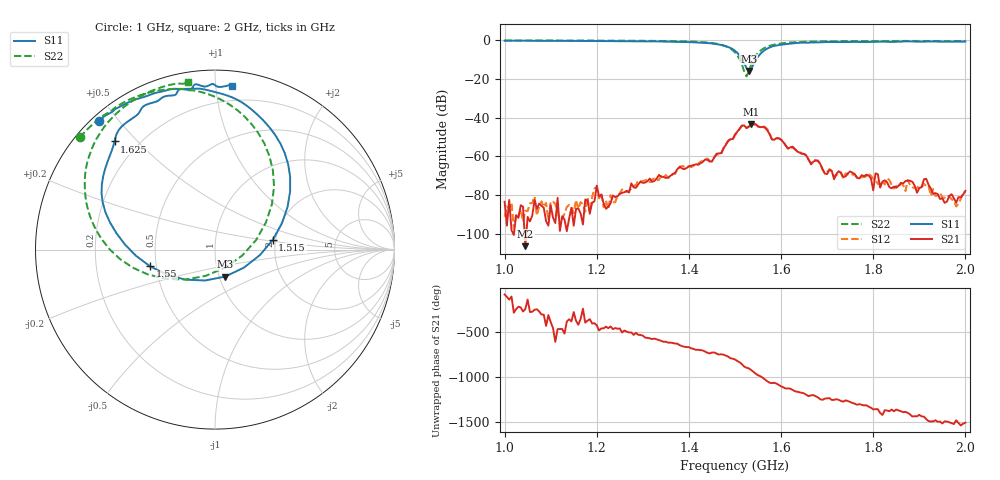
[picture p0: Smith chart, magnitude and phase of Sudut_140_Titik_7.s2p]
# Hz S RI R 50
! CMT, C1220, 16058040, 17.2.0/1
! Date: 14/08/2018 12:13:53
! Data: Format (Calibration Info)
! Freq  S11: Re/Im (F2)  S21: Re/Im (F2)  S12: Re/Im (F2)  S22: Re/Im (F2)
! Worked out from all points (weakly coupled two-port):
!   201 points, 1 GHz to 2 GHz, reference 50 ohm
!   highest |S21| = -43.36 dB at 1.535 GHz (marker M1); lowest = -106.5 dB at 1.045 GHz (marker M2)
!   lowest |S11| = -15.9 dB at 1.53 GHz (marker M3), VSWR 1.38, Z = 53.5 - j16.5 ohm
!   |S11| at or under -10 dB: 1.516 GHz to 1.546 GHz (30.44 MHz wide, 1.99 % of centre)
!   |S22| runs from -18.8 to -0.2 dB; largest |S21 - S12| = 0.00035
!   S11 on the Smith chart (normalised r, x): 1 GHz: 0.02, +0.44; 1.515 GHz: 1.93, +0.23; 1.55 GHz: 0.46, -0.10; 1.625 GHz: 0.12, +0.43; 2 GHz: 0.10, +1.11
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1e9  -0.6469 0.7143  2.67e-06 -6.67e-05  -2.12e-05 -1.76e-05  -0.7535 0.625
1.045e9  -0.6156 0.7434  -1.87e-06 4.35e-06  -3.77e-05 -1.05e-05  -0.7221 0.659
1.17e9  -0.4775 0.8223  -7.54e-06 1.55e-05  4.87e-05 -2.87e-05  -0.6165 0.7508
1.335e9  -0.2189 0.8957  -0.000208 0.000255  -0.000141 0.000201  -0.4002 0.8655
1.45e9  0.1808 0.7988  0.00072 -0.000113  0.000728 -0.000151  0.0236 0.8404
1.5e9  0.4185 0.3252  0.000319 -0.00365  0.000267 -0.00345  0.329 0.3512
1.515e9  0.3216 0.0539  -0.00451 -0.00419  -0.00442 -0.00438  0.2294 0.0537
1.53e9  0.0576 -0.1499  -0.00576 0.000363  -0.0058 0.000355  -0.0521 -0.1464
1.535e9  -0.0545 -0.1722  -0.00633 0.00247  -0.0063 0.00248  -0.1653 -0.1666
1.55e9  -0.3612 -0.0934  -0.00109 0.00577  -0.0013 0.00571  -0.4596 -0.0998
1.625e9  -0.5598 0.6027  0.000831 -0.00157  0.000842 -0.00145  -0.701 0.5216
1.67e9  -0.4422 0.7437  -0.000349 -0.000632  -0.00042 -0.000665  -0.6249 0.6725
1.735e9  -0.3158 0.8302  -0.000288 5.71e-05  -0.000244 7.24e-05  -0.5191 0.7846
1.79e9  -0.2148 0.8684  -0.000126 0.00029  -0.000164 0.000315  -0.4379 0.8411
1.8e9  -0.2076 0.8828  1.46e-05 0.000131  -4.71e-05 0.000258  -0.4241 0.849
1.805e9  -0.2024 0.8891  2.59e-05 0.00036  6.04e-05 0.000241  -0.417 0.8535
1.835e9  -0.1444 0.8874  7.24e-05 0.000141  0.00012 0.000211  -0.3765 0.874
1.88e9  -0.0971 0.9197  0.000207 0.000105  0.000153 9.17e-05  -0.313 0.8994
1.895e9  -0.0665 0.9092  0.000113 1.36e-05  0.000152 1.74e-05  -0.2915 0.9066
1.915e9  -0.0302 0.9169  0.000239 -0.000104  0.00015 -8.04e-05  -0.2648 0.9147
1.93e9  -0.012 0.9227  6.98e-05 -7.96e-05  9.7e-05 -0.000104  -0.2428 0.9196
2e9  0.0957 0.9129  5.68e-05 -0.000114  8.53e-05 -8.75e-05  -0.1521 0.9329
